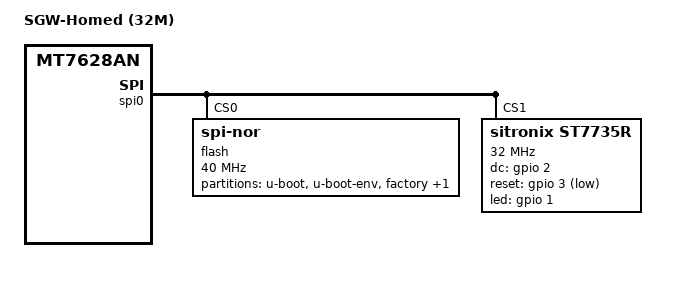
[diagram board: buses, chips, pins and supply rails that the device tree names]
#include "mt7628an_sgw.dtsi"

/ {
	compatible = "sgw,homed-32m", "mediatek,mt7628an-soc";
	model = "SGW-Homed (32M)";
};

&spi0 {
	status = "okay";

	pinctrl-names = "default";
	pinctrl-0 = <&spi_pins>, <&spi_cs1_pins>;

	flash@0 {
		compatible = "jedec,spi-nor";
		reg = <0>;
		spi-max-frequency = <40000000>;

		partitions {
			compatible = "fixed-partitions";
			#address-cells = <1>;
			#size-cells = <1>;

			partition@0 {
				label = "u-boot";
				reg = <0x0 0x30000>;
				read-only;
			};

			partition@30000 {
				label = "u-boot-env";
				reg = <0x30000 0x10000>;
			};

			factory: partition@40000 {
				label = "factory";
				reg = <0x40000 0x10000>;
				read-only;
			};

			partition@50000 {
				compatible = "denx,uimage";
				label = "firmware";
				reg = <0x50000 0x1fb0000>;
			};
		};
	};

	st7735r@1 {
		#address-cells = <1>;
		#size-cells = <1>;
		status = "okay";
		compatible = "sitronix,st7735r";
		reg = <1 0>;
		spi-max-frequency = <32000000>;
		fps = <30>;
		buswidth = <8>;
		rotate = <270>;
		dc-gpios = <&gpio 2 GPIO_ACTIVE_HIGH>;
		reset-gpios = <&gpio 3 GPIO_ACTIVE_LOW>;
		led-gpios = <&gpio 1 GPIO_ACTIVE_HIGH>;
		debug = <0x0>;
	};
};
